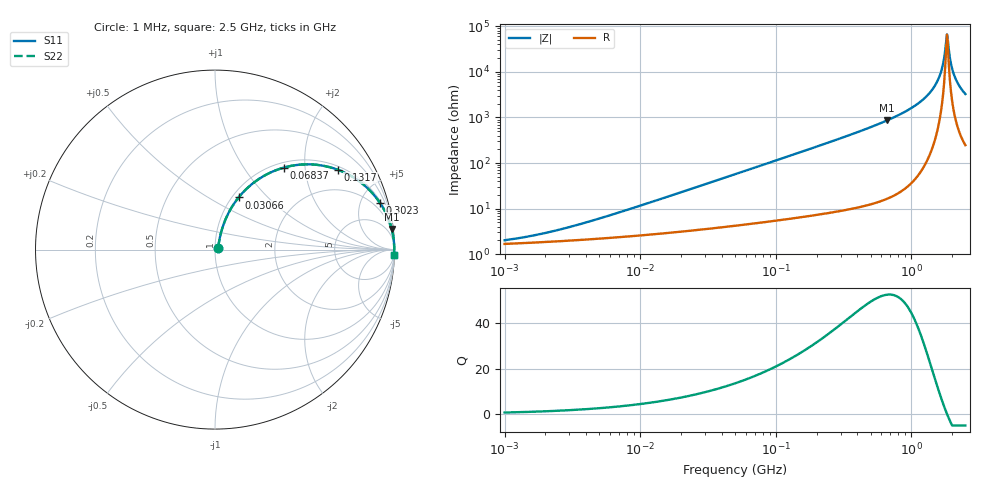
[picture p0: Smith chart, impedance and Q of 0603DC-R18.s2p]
# MHz  S  MA  R  50
!Freq  MagS11  AngS11  MagS21  AngS21  MagS12  AngS12  MagS22  AngS22
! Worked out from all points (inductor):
!   801 points, 1 MHz to 2.5 GHz, reference 50 ohm
!   read as one part in series: L = 180 nH near 6.106 MHz
!   highest Q = 52.4 at 661.1 MHz (marker M1), where L = 207 nH
!   self-resonance near 1.828 GHz
!   S11 on the Smith chart (normalised r, x): 1 MHz: 1.03, +0.02; 30.66 MHz: 1.07, +0.69; 68.37 MHz: 1.09, +1.55; 131.7 MHz: 1.12, +2.99; 302.3 MHz: 1.18, +7.03; 2.5 GHz: 6, -65
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1  0.01991 33.3  0.9834 -0.6  0.9834 -0.6  0.01991 33.3
3.70813  0.04575 61.5  0.979 -2.4  0.979 -2.4  0.04575 61.5
13.61641  0.1506 71.2  0.9621 -8.5  0.9621 -8.5  0.1506 71.2
30.66188  0.3193 65.6  0.9156 -18.5  0.9156 -18.5  0.3193 65.6
50  0.4786 57.3  0.8434 -28.5  0.8434 -28.5  0.4786 57.3
68.37347  0.5957 50.0  0.7679 -36.5  0.7679 -36.5  0.5957 50.0
131.6634  0.8166 33.0  0.5451 -54.7  0.5451 -54.7  0.8166 33.0
185.4065  0.8931 24.9  0.4213 -63.2  0.4213 -63.2  0.8931 24.9
302.3404  0.9555 15.8  0.2717 -72.8  0.2717 -72.8  0.9555 15.8
661.1351  0.9911 6.6  0.1153 -82.3  0.1153 -82.3  0.9911 6.6
680.8203  0.9917 6.4  0.111 -82.5  0.111 -82.5  0.9917 6.4
1067.613  0.9972 3.1  0.0545 -85.5  0.0545 -85.5  0.9972 3.1
1403.919  0.9984 1.5  0.02593 -85.7  0.02593 -85.7  0.9984 1.5
1625.748  0.9986 0.7  0.01156 -82.6  0.01156 -82.6  0.9986 0.7
1707.224  0.9986 0.4  0.00689 -77.8  0.00689 -77.8  0.9986 0.4
1775.334  0.9985 0.2  0.003308 -63.7  0.003308 -63.7  0.9985 0.2
1828.195  0.9985 0.0  0.001509 -5.3  0.001509 -5.3  0.9985 0.0
1882.629  0.9984 -0.2  0.003103 59.9  0.003103 59.9  0.9984 -0.2
1976.978  0.9983 -0.4  0.007586 77.1  0.007586 77.1  0.9983 -0.4
2096.459  0.9981 -0.7  0.01321 81.5  0.01321 81.5  0.9981 -0.7
2289.355  0.9978 -1.2  0.02179 83.5  0.02179 83.5  0.9978 -1.2
2500  0.9972 -1.7  0.03055 83.9  0.03055 83.9  0.9972 -1.7
